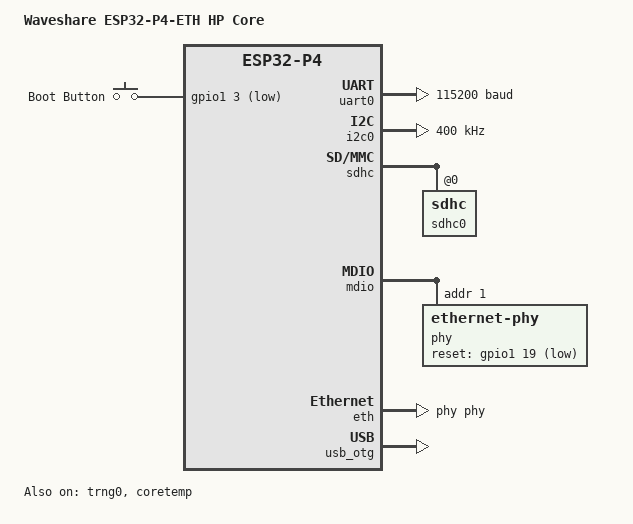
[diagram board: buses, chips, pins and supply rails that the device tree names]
/*
 * SPDX-FileCopyrightText: Copyright (c) 2026 Espressif Systems (Shanghai) Co., Ltd.
 * SPDX-FileCopyrightText: Copyright (c) 2026 Perry Naseck, MIT Media Lab <pnaseck@media.mit.edu>
 * SPDX-License-Identifier: Apache-2.0
 */

/dts-v1/;

#include <espressif/esp32p4/esp32p4_n32r32.dtsi>
#include "esp32p4_eth_hpcore-pinctrl.dtsi"
#include <zephyr/dt-bindings/input/input-event-codes.h>
#include <espressif/partitions_0x2000_default_32M.dtsi>

/ {
	model = "Waveshare ESP32-P4-ETH HP Core";
	compatible = "waveshare,esp32-p4-eth";

	chosen {
		zephyr,sram = &sramhp;
		zephyr,console = &uart0;
		zephyr,shell-uart = &uart0;
		zephyr,flash = &flash0;
		zephyr,code-partition = &slot0_partition;
	};

	aliases {
		i2c-0 = &i2c0;
		mcuboot-button0 = &boot_button;
		sdhc0 = &sdhc0;
		sw0 = &boot_button;
		uart-0 = &uart0;
		watchdog0 = &wdt0;
	};

	gpio_keys {
		compatible = "gpio-keys";

		boot_button: button {
			label = "Boot Button";
			gpios = <&gpio1 3 (GPIO_PULL_UP | GPIO_ACTIVE_LOW)>;
			zephyr,code = <INPUT_KEY_0>;
		};
	};
};

/*
 * This board carries pre-v3 (v1.3) ESP32-P4 silicon, whose valid CPU
 * frequencies are 90/180/360 MHz. Using a frequency outside that set
 * builds but fails at boot with "invalid CPU frequency".
 */
&cpu0 {
	clock-frequency = <DT_FREQ_M(360)>;
};

&cpu1 {
	clock-frequency = <DT_FREQ_M(360)>;
};

&uart0 {
	status = "okay";
	current-speed = <115200>;
	pinctrl-0 = <&uart0_default>;
	pinctrl-names = "default";
};

&trng0 {
	status = "okay";
};

&coretemp {
	status = "okay";
};

&i2c0 {
	status = "okay";
	clock-frequency = <I2C_BITRATE_FAST>;
	pinctrl-0 = <&i2c0_default>;
	pinctrl-names = "default";
};

&gpio0 {
	status = "okay";
};

&wdt0 {
	status = "disabled";
};

&dma {
	status = "okay";
};

&dma_axi {
	status = "okay";
};

&ldo {
	status = "okay";

	ldo1@1 {
		regulator-init-microvolt = <3300000>;
		regulator-boot-on;
		regulator-always-on;
	};

	ldo2@2 {
		regulator-init-microvolt = <1800000>;
		regulator-boot-on;
		regulator-always-on;
	};

	ldo4@4 {
		regulator-init-microvolt = <3300000>;
		regulator-boot-on;
		regulator-always-on;
	};
};

&sdhc {
	sdhc0: sdhc@0 {
		status = "okay";
		bus-width = <4>;
		max-bus-freq = <40000000>;
		clk-pin = <43>;
		cmd-pin = <44>;
		d0-pin = <39>;
		d1-pin = <40>;
		d2-pin = <41>;
		d3-pin = <42>;

		mmc {
			compatible = "zephyr,sdmmc-disk";
			disk-name = "SD";
			status = "okay";
		};
	};
};

&mdio {
	pinctrl-0 = <&mdio_default>;
	pinctrl-names = "default";
	status = "okay";

	phy: ethernet-phy@1 {
		compatible = "ethernet-phy";
		reg = <1>;
		reset-gpios = <&gpio1 19 GPIO_ACTIVE_LOW>;
	};
};

&eth {
	status = "okay";
	phy-handle = <&phy>;
	pinctrl-0 = <&rmii_default>;
	pinctrl-names = "default";
};

/*
 * Native USB 2.0 HS OTG exposed on the on-board 4-pin USB header (J3),
 * wired to the dedicated UTMI PHY pins (DP/DM). The USB-C port is a
 * separate USB-to-UART bridge used for the console (see uart0).
 */
zephyr_udc0: &usb_otg {
	status = "okay";
};
